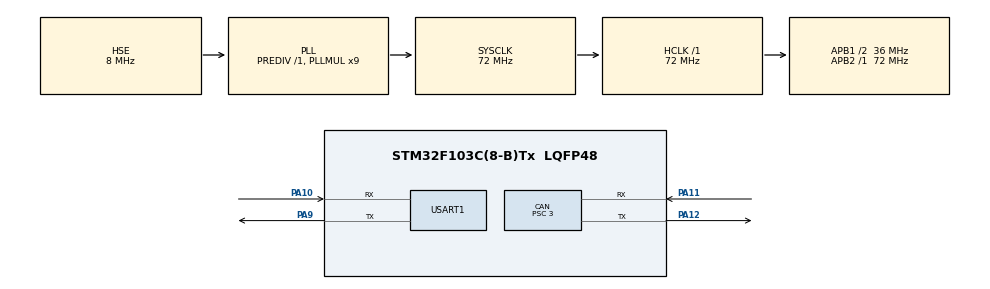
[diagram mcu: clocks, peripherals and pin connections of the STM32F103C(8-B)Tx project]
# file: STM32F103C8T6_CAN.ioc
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CAN.BS1=CAN_BS1_8TQ
CAN.BS2=CAN_BS2_3TQ
CAN.CalculateBaudRate=999999
CAN.CalculateTimeBit=1000
CAN.CalculateTimeQuantum=83.33333333333334
CAN.Prescaler=3
Dma.Request0=USART1_TX
Dma.USART1_TX.0.Direction=DMA_MEMORY_TO_PERIPH
Dma.USART1_TX.0.Instance=DMA1_Channel4
Dma.USART1_TX.0.MemDataAlignment=DMA_MDATAALIGN_BYTE
Dma.USART1_TX.0.MemInc=DMA_MINC_ENABLE
Dma.USART1_TX.0.Mode=DMA_NORMAL
Dma.USART1_TX.0.PeriphDataAlignment=DMA_PDATAALIGN_BYTE
Dma.USART1_TX.0.PeriphInc=DMA_PINC_DISABLE
Dma.USART1_TX.0.Priority=DMA_PRIORITY_LOW
Mcu.Family=STM32F1
Mcu.Name=STM32F103C(8-B)Tx
Mcu.Package=LQFP48
NVIC.DMA1_Channel4_IRQn=true\:0\:0\:false\:false\:true\:false\:true\:true
NVIC.PriorityGroup=NVIC_PRIORITYGROUP_4
NVIC.TIM2_IRQn=true\:0\:0\:false\:false\:true\:true\:true\:true
NVIC.USB_LP_CAN1_RX0_IRQn=true\:0\:0\:false\:false\:true\:true\:true\:true
PA10.Mode=Asynchronous
PA10.Signal=USART1_RX
PA11.Mode=CAN_Activate
PA11.Signal=CAN_RX
PA12.Mode=CAN_Activate
PA12.Signal=CAN_TX
PA13.Mode=Serial_Wire
PA13.Signal=SYS_JTMS-SWDIO
PA14.Mode=Serial_Wire
PA14.Signal=SYS_JTCK-SWCLK
PA9.Mode=Asynchronous
PA9.Signal=USART1_TX
PD0-OSC_IN.Mode=HSE-External-Oscillator
PD0-OSC_IN.Signal=RCC_OSC_IN
PD1-OSC_OUT.Mode=HSE-External-Oscillator
PD1-OSC_OUT.Signal=RCC_OSC_OUT
ProjectManager.HeapSize=0x200
ProjectManager.StackSize=0x400
ProjectManager.TargetToolchain=CMake
RCC.AHBFreq_Value=72000000
RCC.APB1CLKDivider=RCC_HCLK_DIV2
RCC.APB1Freq_Value=36000000
RCC.APB1TimFreq_Value=72000000
RCC.APB2Freq_Value=72000000
RCC.APB2TimFreq_Value=72000000
RCC.HCLKFreq_Value=72000000
RCC.PLLMUL=RCC_PLL_MUL9
RCC.PLLSourceVirtual=RCC_PLLSOURCE_HSE
RCC.SYSCLKFreq_VALUE=72000000
RCC.SYSCLKSource=RCC_SYSCLKSOURCE_PLLCLK
RCC.USBFreq_Value=72000000
TIM2.Period=999
TIM2.Prescaler=71
USART1.VirtualMode=VM_ASYNC
VP_TIM2_VS_ClockSourceINT.Mode=Internal
board=custom

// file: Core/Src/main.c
/* USER CODE BEGIN Header */
/**
  ******************************************************************************
  * @file           : main.c
  * @brief          : Main program body
  ******************************************************************************
  * @attention
  *
  * Copyright (c) 2026 STMicroelectronics.
  * All rights reserved.
  *
  * This software is licensed under terms that can be found in the LICENSE file
  * in the root directory of this software component.
  * If no LICENSE file comes with this software, it is provided AS-IS.
  *
  ******************************************************************************
  */
/* USER CODE END Header */
#include "main.h"

/* USER CODE BEGIN Includes */
#include <stdio.h>   // snprintf 拼字符串需要
#include <math.h>    // sinf 算正弦目标速度

// 电机类（User/dvc_motor.cpp）的 extern "C" 桥接函数
extern void  Motor_Init(CAN_HandleTypeDef *hcan, int method);
extern void  Motor_Set_Target_Angle(float angle);
extern void  Motor_Set_Target_Omega(float omega);
extern float Motor_Get_Target_Angle(void);
extern float Motor_Get_Target_Omega(void);
extern float Motor_Get_Now_Angle(void);
extern float Motor_Get_Now_Omega(void);
extern void  Motor_CAN_RxCpltCallback(uint8_t *data);
extern void  Motor_TIM_PID_PeriodElapsedCallback(void);
/* USER CODE END Includes */

CAN_HandleTypeDef hcan;

TIM_HandleTypeDef htim2;

UART_HandleTypeDef huart1;
DMA_HandleTypeDef hdma_usart1_tx;

/* USER CODE BEGIN PV */
volatile uint8_t  g_ready = 0;          // 有反馈待发：ISR 置 1，主循环消费后清 0
volatile uint8_t  g_tx_busy = 0;        // DMA 发送中，buffer 被占用（发完才解锁）
char g_buf[64];                         // 串口发送缓冲区（DMA 异步，必须全局）
/* USER CODE END PV */

void SystemClock_Config(void);
static void MX_GPIO_Init(void);
static void MX_DMA_Init(void);
static void MX_CAN_Init(void);
static void MX_USART1_UART_Init(void);
static void MX_TIM2_Init(void);

int main(void)
{

  /* MCU Configuration--------------------------------------------------------*/

  /* Reset of all peripherals, Initializes the Flash interface and the Systick. */
  HAL_Init();

  /* Configure the system clock */
  SystemClock_Config();

  /* Initialize all configured peripherals */
  MX_GPIO_Init();
  MX_DMA_Init();
  MX_CAN_Init();
  MX_USART1_UART_Init();
  MX_TIM2_Init();
  /* USER CODE BEGIN 2 */
  CAN_FilterTypeDef can_filter = {0};

  can_filter.FilterActivation = CAN_FILTER_ENABLE;
  can_filter.FilterBank = 0;
  can_filter.FilterFIFOAssignment = CAN_FILTER_FIFO0;
  can_filter.FilterScale = CAN_FILTERSCALE_32BIT;
  can_filter.FilterMode = CAN_FILTERMODE_IDLIST;
  can_filter.FilterIdHigh = 0x201 << 5;
  can_filter.FilterIdLow = 0;
  can_filter.FilterMaskIdHigh = 0;
  can_filter.FilterMaskIdLow = 0;

  if (HAL_CAN_ConfigFilter(&hcan, &can_filter) != HAL_OK)
  {
    Error_Handler();
  }
  HAL_CAN_Start(&hcan);
  HAL_CAN_ActivateNotification(&hcan, CAN_IT_RX_FIFO0_MSG_PENDING);

  Motor_Init(&hcan, 1);   // 1 = OMEGA（速度环）。手动调参入口在 dvc_motor.cpp 的 Motor_Init 里
  /* USER CODE END 2 */

  /* Infinite loop */
  while (1)
  {

    /* USER CODE BEGIN 3 */
    static uint32_t counter = 0;                 // 软件计时：数主循环圈数（≈1ms/圈，当 ms 用）

    /* 目标角速度 = 10·sin(3t)，模仿能量机关的正弦速度轨迹。counter 不归零，t 一直涨 */
    counter++;
    Motor_Set_Target_Omega(10.0f * sinf((float)counter / 1000.0f * 3.0f));

    /* 速度环 PID（含前馈）+ 发 CAN，全在电机类里，main 只调一个入口 */
    Motor_TIM_PID_PeriodElapsedCallback();

    /* 有反馈 + 串口空闲，DMA 发出去画波形：目标角速度 vs 当前角速度（值 ×1000 取整数，避开 %f） */
    if (g_ready && !g_tx_busy) {
        g_ready   = 0;
        g_tx_busy = 1;
        int len = snprintf(g_buf, sizeof(g_buf), "%d,%d\r\n",
                           (int)(Motor_Get_Target_Omega() * 1000.0f),
                           (int)(Motor_Get_Now_Omega()    * 1000.0f));
        HAL_UART_Transmit_DMA(&huart1, (uint8_t*)g_buf, len);
    }

    HAL_Delay(0);                                 // 科大原文：空转，主循环近似 1ms 节拍
  }
  /* USER CODE END 3 */
}

void SystemClock_Config(void)
{
  RCC_OscInitTypeDef RCC_OscInitStruct = {0};
  RCC_ClkInitTypeDef RCC_ClkInitStruct = {0};

  /** Initializes the RCC Oscillators according to the specified parameters
  * in the RCC_OscInitTypeDef structure.
  */
  RCC_OscInitStruct.OscillatorType = RCC_OSCILLATORTYPE_HSE;
  RCC_OscInitStruct.HSEState = RCC_HSE_ON;
  RCC_OscInitStruct.HSEPredivValue = RCC_HSE_PREDIV_DIV1;
  RCC_OscInitStruct.HSIState = RCC_HSI_ON;
  RCC_OscInitStruct.PLL.PLLState = RCC_PLL_ON;
  RCC_OscInitStruct.PLL.PLLSource = RCC_PLLSOURCE_HSE;
  RCC_OscInitStruct.PLL.PLLMUL = RCC_PLL_MUL9;
  if (HAL_RCC_OscConfig(&RCC_OscInitStruct) != HAL_OK)
  {
    Error_Handler();
  }

  /** Initializes the CPU, AHB and APB buses clocks
  */
  RCC_ClkInitStruct.ClockType = RCC_CLOCKTYPE_HCLK|RCC_CLOCKTYPE_SYSCLK
                              |RCC_CLOCKTYPE_PCLK1|RCC_CLOCKTYPE_PCLK2;
  RCC_ClkInitStruct.SYSCLKSource = RCC_SYSCLKSOURCE_PLLCLK;
  RCC_ClkInitStruct.AHBCLKDivider = RCC_SYSCLK_DIV1;
  RCC_ClkInitStruct.APB1CLKDivider = RCC_HCLK_DIV2;
  RCC_ClkInitStruct.APB2CLKDivider = RCC_HCLK_DIV1;

  if (HAL_RCC_ClockConfig(&RCC_ClkInitStruct, FLASH_LATENCY_2) != HAL_OK)
  {
    Error_Handler();
  }
}

static void MX_CAN_Init(void)
{

  hcan.Instance = CAN1;
  hcan.Init.Prescaler = 3;
  hcan.Init.Mode = CAN_MODE_NORMAL;
  hcan.Init.SyncJumpWidth = CAN_SJW_1TQ;
  hcan.Init.TimeSeg1 = CAN_BS1_8TQ;
  hcan.Init.TimeSeg2 = CAN_BS2_3TQ;
  hcan.Init.TimeTriggeredMode = DISABLE;
  hcan.Init.AutoBusOff = DISABLE;
  hcan.Init.AutoWakeUp = DISABLE;
  hcan.Init.AutoRetransmission = DISABLE;
  hcan.Init.ReceiveFifoLocked = DISABLE;
  hcan.Init.TransmitFifoPriority = DISABLE;
  if (HAL_CAN_Init(&hcan) != HAL_OK)
  {
    Error_Handler();
  }

}

static void MX_TIM2_Init(void)
{

  TIM_ClockConfigTypeDef sClockSourceConfig = {0};
  TIM_MasterConfigTypeDef sMasterConfig = {0};

  htim2.Instance = TIM2;
  htim2.Init.Prescaler = 71;
  htim2.Init.CounterMode = TIM_COUNTERMODE_UP;
  htim2.Init.Period = 999;
  htim2.Init.ClockDivision = TIM_CLOCKDIVISION_DIV1;
  htim2.Init.AutoReloadPreload = TIM_AUTORELOAD_PRELOAD_DISABLE;
  if (HAL_TIM_Base_Init(&htim2) != HAL_OK)
  {
    Error_Handler();
  }
  sClockSourceConfig.ClockSource = TIM_CLOCKSOURCE_INTERNAL;
  if (HAL_TIM_ConfigClockSource(&htim2, &sClockSourceConfig) != HAL_OK)
  {
    Error_Handler();
  }
  sMasterConfig.MasterOutputTrigger = TIM_TRGO_RESET;
  sMasterConfig.MasterSlaveMode = TIM_MASTERSLAVEMODE_DISABLE;
  if (HAL_TIMEx_MasterConfigSynchronization(&htim2, &sMasterConfig) != HAL_OK)
  {
    Error_Handler();
  }

}

static void MX_USART1_UART_Init(void)
{

  huart1.Instance = USART1;
  huart1.Init.BaudRate = 115200;
  huart1.Init.WordLength = UART_WORDLENGTH_8B;
  huart1.Init.StopBits = UART_STOPBITS_1;
  huart1.Init.Parity = UART_PARITY_NONE;
  huart1.Init.Mode = UART_MODE_TX_RX;
  huart1.Init.HwFlowCtl = UART_HWCONTROL_NONE;
  huart1.Init.OverSampling = UART_OVERSAMPLING_16;
  if (HAL_UART_Init(&huart1) != HAL_OK)
  {
    Error_Handler();
  }

}

static void MX_DMA_Init(void)
{

  /* DMA controller clock enable */
  __HAL_RCC_DMA1_CLK_ENABLE();

  /* DMA interrupt init */
  /* DMA1_Channel4_IRQn interrupt configuration */
  HAL_NVIC_SetPriority(DMA1_Channel4_IRQn, 0, 0);
  HAL_NVIC_EnableIRQ(DMA1_Channel4_IRQn);

}

static void MX_GPIO_Init(void)
{

  /* GPIO Ports Clock Enable */
  __HAL_RCC_GPIOD_CLK_ENABLE();
  __HAL_RCC_GPIOA_CLK_ENABLE();

}

/* USER CODE BEGIN 4 */

void HAL_CAN_RxFifo0MsgPendingCallback(CAN_HandleTypeDef *hcan)
{
    CAN_RxHeaderTypeDef rx_header;
    uint8_t rx_data[8];

    HAL_CAN_GetRxMessage(hcan, CAN_RX_FIFO0, &rx_header, rx_data);

    Motor_CAN_RxCpltCallback(rx_data);     // 拆包 + 连续角度，收进电机类

    // 节流只控制"发绘图"（反馈 1kHz，每 10 帧发 1 次 → 100Hz）
    static uint8_t cnt = 0;
    if (++cnt >= 10) {
        cnt = 0;
        g_ready = 1;
    }
}

void HAL_UART_TxCpltCallback(UART_HandleTypeDef *huart)
{
    if (huart->Instance == USART1) {
        g_tx_busy = 0;                    // 发完了，buffer 解禁
    }
}

/* USER CODE END 4 */

void Error_Handler(void)
{
  __disable_irq();
  while (1)
  {
  }
}
